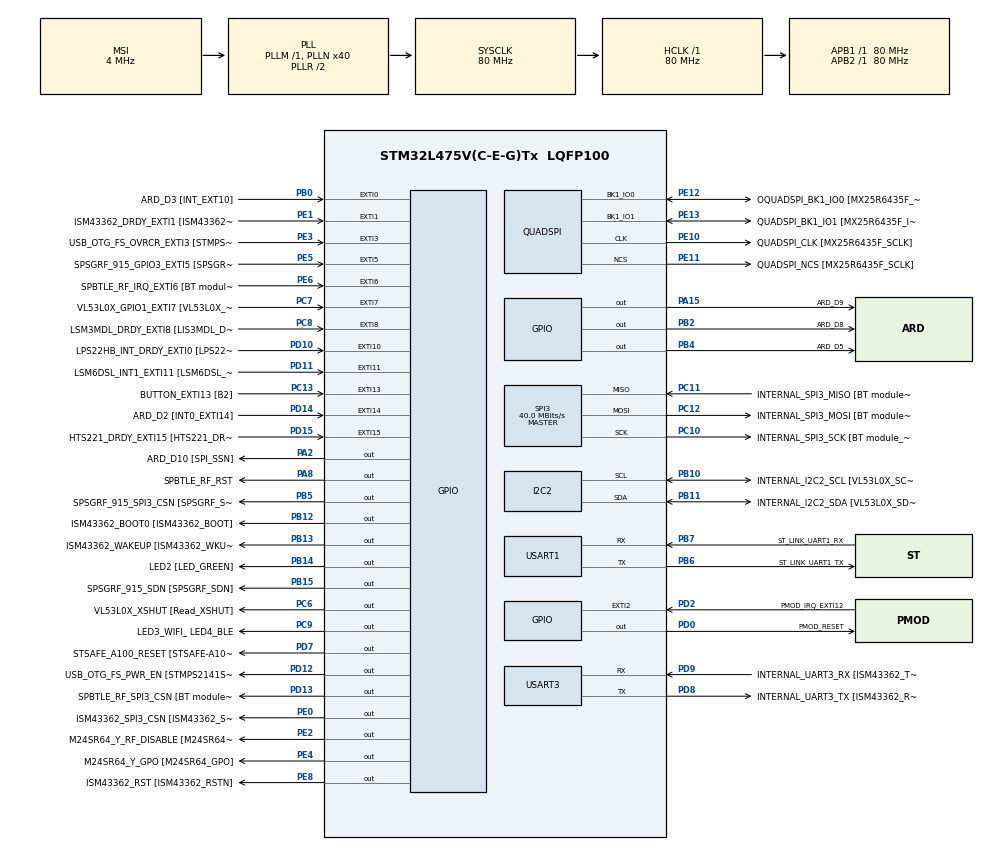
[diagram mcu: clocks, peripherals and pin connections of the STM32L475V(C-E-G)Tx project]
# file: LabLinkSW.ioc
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FREERTOS.Tasks01=defaultTask,24,128,StartDefaultTask,Default,NULL,Dynamic,NULL,NULL
FREERTOS.configTOTAL_HEAP_SIZE=9000
I2C2.Timing=0x10D19CE4
Mcu.Family=STM32L4
Mcu.Name=STM32L475V(C-E-G)Tx
Mcu.Package=LQFP100
NVIC.EXTI15_10_IRQn=true\:5\:0\:false\:false\:true\:true\:true\:true\:true
NVIC.EXTI1_IRQn=true\:5\:0\:false\:false\:true\:true\:true\:true\:true
NVIC.EXTI9_5_IRQn=true\:5\:0\:false\:false\:true\:true\:true\:true\:true
NVIC.PriorityGroup=NVIC_PRIORITYGROUP_4
NVIC.TIM6_DAC_IRQn=true\:15\:0\:false\:false\:true\:false\:false\:true\:true
NVIC.TIM7_IRQn=true\:5\:0\:false\:false\:true\:true\:true\:true\:true
NVIC.TimeBase=TIM6_DAC_IRQn
NVIC.TimeBaseIP=TIM6
PA0.GPIO_Label=ARD_D1 [UART4_TX]
PA0.Signal=UART4_TX
PA1.GPIO_Label=ARD_D0 [UART4_RX]
PA1.Signal=UART4_RX
PA10.GPIO_Label=USB_OTG_FS_ID
PA10.Signal=USB_OTG_FS_ID
PA11.GPIO_Label=USB_OTG_FS_DM
PA11.Signal=USB_OTG_FS_DM
PA12.GPIO_Label=USB_OTG_FS_DP
PA12.Signal=USB_OTG_FS_DP
PA13\ (JTMS-SWDIO).GPIO_Label=SYS_JTMS_SWDIO
PA13\ (JTMS-SWDIO).Mode=Trace_Asynchronous_SW
PA13\ (JTMS-SWDIO).Signal=SYS_JTMS-SWDIO
PA14\ (JTCK-SWCLK).GPIO_Label=SYS_JTCK_SWCLK
PA14\ (JTCK-SWCLK).Mode=Trace_Asynchronous_SW
PA14\ (JTCK-SWCLK).Signal=SYS_JTCK-SWCLK
PA15\ (JTDI).GPIO_Label=ARD_D9
PA15\ (JTDI).Signal=GPIO_Output
PA2.GPIO_Label=ARD_D10 [SPI_SSN]
PA2.Signal=GPIO_Output
PA3.GPIO_Label=ARD_D4
PA3.Signal=S_TIM2_CH4
PA4.GPIO_Label=ARD_D7
PA4.Signal=ADCx_IN9
PA5.GPIO_Label=ARD_D13 [SPI1_SCK]
PA5.Signal=SPI1_SCK
PA6.GPIO_Label=ARD_D12 [SPI1_MISO]
PA6.Signal=SPI1_MISO
PA7.GPIO_Label=ARD_D11 [SPI1_MOSI]
PA7.Signal=SPI1_MOSI
PA8.GPIO_Label=SPBTLE_RF_RST
PA8.Signal=GPIO_Output
PA9.GPIO_Label=USB_OTG_FS_VBUS [STMPS2141STR_OUT]
PA9.Signal=USB_OTG_FS_VBUS
PB0.GPIO_Label=ARD_D3 [INT_EXT10]
PB0.Signal=GPXTI0
PB1.GPIO_Label=ARD_D6 [ADC1_IN6]
PB1.Signal=ADCx_IN16
PB10.GPIO_Label=INTERNAL_I2C2_SCL [VL53L0X_SCL]
PB10.GPIO_Pu=GPIO_PULLUP
PB10.Mode=I2C
PB10.Signal=I2C2_SCL
PB11.GPIO_Label=INTERNAL_I2C2_SDA [VL53L0X_SDA]
PB11.GPIO_Pu=GPIO_PULLUP
PB11.Mode=I2C
PB11.Signal=I2C2_SDA
PB12.GPIO_Label=ISM43362_BOOT0 [ISM43362_BOOT]
PB12.Signal=GPIO_Output
PB13.GPIO_Label=ISM43362_WAKEUP [ISM43362_WKUP]
PB13.Signal=GPIO_Output
PB14.GPIO_Label=LED2 [LED_GREEN]
PB14.Signal=GPIO_Output
PB15.GPIO_Label=SPSGRF_915_SDN [SPSGRF_SDN]
PB15.Signal=GPIO_Output
PB2.GPIO_Label=ARD_D8
PB2.Signal=GPIO_Output
PB3\ (JTDO-TRACESWO).GPIO_Label=SYS_JTD0_SWO
PB3\ (JTDO-TRACESWO).Mode=Trace_Asynchronous_SW
PB3\ (JTDO-TRACESWO).Signal=SYS_JTDO-SWO
PB4\ (NJTRST).GPIO_Label=ARD_D5
PB4\ (NJTRST).Signal=GPIO_Output
PB5.GPIO_Label=SPSGRF_915_SPI3_CSN [SPSGRF_SPI_CS]
PB5.PinState=GPIO_PIN_SET
PB5.Signal=GPIO_Output
PB6.GPIO_Label=ST_LINK_UART1_TX
PB6.Mode=Asynchronous
PB6.Signal=USART1_TX
PB7.GPIO_Label=ST_LINK_UART1_RX
PB7.Mode=Asynchronous
PB7.Signal=USART1_RX
PB8.GPIO_Label=ARD_D15 [I2C1_SCL]
PB8.Signal=I2C1_SCL
PB9.GPIO_Label=ARD_D14 [I2C1_SDA]
PB9.Signal=I2C1_SDA
PC0.GPIO_Label=ARD_A5 [ADC]
PC0.Signal=ADCx_IN1
PC1.GPIO_Label=ARD_A4 [ADC]
PC1.Signal=ADCx_IN2
PC10.GPIO_Label=INTERNAL_SPI3_SCK [BT module_SPI_SCLK] [ISM43362_SCK]
PC10.Mode=Full_Duplex_Master
PC10.Signal=SPI3_SCK
PC11.GPIO_Label=INTERNAL_SPI3_MISO [BT module_SPI_MISO] [ISM43362_MISO]
PC11.Mode=Full_Duplex_Master
PC11.Signal=SPI3_MISO
PC12.GPIO_Label=INTERNAL_SPI3_MOSI [BT module_SPI_MOSI] [ISM43362_MOSI]
PC12.Mode=Full_Duplex_Master
PC12.Signal=SPI3_MOSI
PC13.GPIO_Label=BUTTON_EXTI13 [B2]
PC13.GPIO_ModeDefaultEXTI=GPIO_MODE_IT_RISING
PC13.GPIO_PuPd=GPIO_NOPULL
PC13.Signal=GPXTI13
PC14-OSC32_IN\ (PC14).Mode=LSE-External-Oscillator
PC14-OSC32_IN\ (PC14).Signal=RCC_OSC32_IN
PC15-OSC32_OUT\ (PC15).Mode=LSE-External-Oscillator
PC15-OSC32_OUT\ (PC15).Signal=RCC_OSC32_OUT
PC2.GPIO_Label=ARD_A3 [ADC]
PC2.Signal=ADCx_IN3
PC3.GPIO_Label=ARD_A2 [ADC]
PC3.Signal=ADCx_IN4
PC4.GPIO_Label=ARD_A1 [ADC]
PC4.Signal=ADCx_IN13
PC5.GPIO_Label=ARD_A0 [ADC]
PC5.Signal=ADCx_IN14
PC6.GPIO_Label=VL53L0X_XSHUT [Read_XSHUT]
PC6.Signal=GPIO_Output
PC7.GPIO_Label=VL53L0X_GPIO1_EXTI7 [VL53L0X_GPIO1]
PC7.Signal=GPXTI7
PC8.GPIO_Label=LSM3MDL_DRDY_EXTI8 [LIS3MDL_DRDY]
PC8.Signal=GPXTI8
PC9.GPIO_Label=LED3_WIFI_ LED4_BLE
PC9.Signal=GPIO_Output
PD0.GPIO_Label=PMOD_RESET
PD0.Signal=GPIO_Output
PD1.GPIO_Label=PMOD_SPI2_SCK
PD1.Signal=SPI2_SCK
PD10.GPIO_Label=LPS22HB_INT_DRDY_EXTI0 [LPS22HB_INT_DRDY] 
PD10.Signal=GPXTI10
PD11.GPIO_Label=LSM6DSL_INT1_EXTI11 [LSM6DSL_INT1]
PD11.Signal=GPXTI11
PD12.GPIO_Label=USB_OTG_FS_PWR_EN [STMPS2141STR_EN]
PD12.Signal=GPIO_Output
PD13.GPIO_Label=SPBTLE_RF_SPI3_CSN [BT module_SPI_CS]
PD13.PinState=GPIO_PIN_SET
PD13.Signal=GPIO_Output
PD14.GPIO_Label=ARD_D2 [INT0_EXTI14]
PD14.Signal=GPXTI14
PD15.GPIO_Label=HTS221_DRDY_EXTI15 [HTS221_DRDY]
PD15.Signal=GPXTI15
PD2.GPIO_Label=PMOD_IRQ_EXTI12
PD2.Signal=GPXTI2
PD3.GPIO_Label=PMOD_UART2_CTS
PD3.Signal=USART2_CTS
PD4.GPIO_Label=PMOD_UART2_RTS
PD4.Signal=USART2_RTS
PD5.GPIO_Label=PMOD_UART2_TX
PD5.Signal=USART2_TX
PD6.GPIO_Label=PMOD_UART2_RX
PD6.Signal=USART2_RX
PD7.GPIO_Label=STSAFE_A100_RESET [STSAFE-A100_RESET]
PD7.Signal=GPIO_Output
PD8.GPIO_Label=INTERNAL_UART3_TX [ISM43362_RX]
PD8.Mode=Asynchronous
PD8.Signal=USART3_TX
PD9.GPIO_Label=INTERNAL_UART3_RX [ISM43362_TX]
PD9.Mode=Asynchronous
PD9.Signal=USART3_RX
PE0.GPIO_Label=ISM43362_SPI3_CSN [ISM43362_SSN]
PE0.PinState=GPIO_PIN_SET
PE0.Signal=GPIO_Output
PE1.GPIO_Label=ISM43362_DRDY_EXTI1 [ISM43362_DATARDY]
PE1.Signal=GPXTI1
PE10.GPIO_Label=QUADSPI_CLK [MX25R6435F_SCLK]
PE10.Mode=Single Bank 2IOs
PE10.Signal=QUADSPI_CLK
PE11.GPIO_Label=QUADSPI_NCS [MX25R6435F_SCLK]
PE11.Mode=Single Bank 2IOs
PE11.Signal=QUADSPI_NCS
PE12.GPIO_Label=OQUADSPI_BK1_IO0 [MX25R6435F_IO0]
PE12.Mode=Single Bank 2IOs
PE12.Signal=QUADSPI_BK1_IO0
PE13.GPIO_Label=QUADSPI_BK1_IO1 [MX25R6435F_IO1]
PE13.Mode=Single Bank 2IOs
PE13.Signal=QUADSPI_BK1_IO1
PE14.GPIO_Label=QUAD_SPI_BK1_IO2 [MX25R6435F_IO2]
PE14.Signal=QUADSPI_BK1_IO2
PE15.GPIO_Label=QUAD_SPI_BK1_IO3 [MX25R6435F_IO3]
PE15.Signal=QUADSPI_BK1_IO3
PE2.GPIO_Label=M24SR64_Y_RF_DISABLE [M24SR64_RFDIS]
PE2.Signal=GPIO_Output
PE3.GPIO_Label=USB_OTG_FS_OVRCR_EXTI3 [STMPS2141STR_FAULT]
PE3.Signal=GPXTI3
PE4.GPIO_Label=M24SR64_Y_GPO [M24SR64_GPO]
PE4.Signal=GPIO_Output
PE5.GPIO_Label=SPSGRF_915_GPIO3_EXTI5 [SPSGRF_GPIO_3]
PE5.Signal=GPXTI5
PE6.GPIO_Label=SPBTLE_RF_IRQ_EXTI6 [BT module_SPI_IRQ]
PE6.Signal=GPXTI6
PE7.GPIO_Label=DFSDM1_DATIN2 [MP34DT01_DOUT]
PE7.Signal=S_DATAIN2DFSDM1
PE8.GPIO_Label=ISM43362_RST [ISM43362_RSTN]
PE8.Signal=GPIO_Output
PE9.GPIO_Label=DFSDM1_CKOUT [MP34DT01_CLK]
PE9.Signal=S_CKOUTDFSDM1
PH0-OSC_IN\ (PH0).Mode=HSE-External-Oscillator
PH0-OSC_IN\ (PH0).Signal=RCC_OSC_IN
PH1-OSC_OUT\ (PH1).Mode=HSE-External-Oscillator
PH1-OSC_OUT\ (PH1).Signal=RCC_OSC_OUT
ProjectManager.HeapSize=0x200
ProjectManager.StackSize=0x400
ProjectManager.TargetToolchain=STM32CubeIDE
QUADSPI.ClockPrescaler-Single\ Bank\ 2IOs=2
QUADSPI.FifoThreshold-Single\ Bank\ 2IOs=4
QUADSPI.FlashSize-Single\ Bank\ 2IOs=23
QUADSPI.SampleShifting-Single\ Bank\ 2IOs=QSPI_SAMPLE_SHIFTING_HALFCYCLE
RCC.ADCFreq_Value=48000000
RCC.AHBFreq_Value=80000000
RCC.APB1Freq_Value=80000000
RCC.APB1TimFreq_Value=80000000
RCC.APB2Freq_Value=80000000
RCC.APB2TimFreq_Value=80000000
RCC.CortexFreq_Value=80000000
RCC.HCLKFreq_Value=80000000
RCC.HSE_VALUE=8000000
RCC.HSI_VALUE=16000000
RCC.MSI_VALUE=4000000
RCC.PLLN=40
RCC.PLLSAI1N=24
RCC.SYSCLKFreq_VALUE=80000000
RCC.SYSCLKSource=RCC_SYSCLKSOURCE_PLLCLK
RCC.USBFreq_Value=48000000
RCC.VCOOutputFreq_Value=160000000
SH.ADCx_IN1.0=ADC1_IN1
SH.ADCx_IN13.0=ADC1_IN13
SH.ADCx_IN14.0=ADC1_IN14
SH.ADCx_IN16.0=ADC1_IN16
SH.ADCx_IN2.0=ADC1_IN2
SH.ADCx_IN3.0=ADC1_IN3
SH.ADCx_IN4.0=ADC1_IN4
SH.ADCx_IN9.0=ADC1_IN9
SH.S_CKOUTDFSDM1.0=DFSDM1_CKOUT
SH.S_DATAIN2DFSDM1.0=DFSDM1_DATIN2
SH.S_TIM2_CH4.0=TIM2_CH4
SPI3.CalculateBaudRate=40.0 MBits/s
SPI3.Direction=SPI_DIRECTION_2LINES
SPI3.Mode=SPI_MODE_MASTER
SPI3.VirtualType=VM_MASTER
TIM7.Period=65216
TIM7.Prescaler=3679
USART1.VirtualMode-Asynchronous=VM_ASYNC
USART3.VirtualMode-Asynchronous=VM_ASYNC
VP_FREERTOS_VS_CMSIS_V2.Mode=CMSIS_V2
VP_SYS_VS_tim6.Mode=TIM6
VP_TIM7_VS_ClockSourceINT.Mode=Enable_Timer
VP_TIM7_VS_OPM.Mode=OPM_bit
board=B-L475E-IOT01A1

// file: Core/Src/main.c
/* USER CODE BEGIN Header */
/**
  ******************************************************************************
  * @file           : main.c
  * @brief          : Main program body
  ******************************************************************************
  * @attention
  *
  * Copyright (c) 2024 STMicroelectronics.
  * All rights reserved.
  *
  * This software is licensed under terms that can be found in the LICENSE file
  * in the root directory of this software component.
  * If no LICENSE file comes with this software, it is provided AS-IS.
  *
  ******************************************************************************
  */
/* USER CODE END Header */
#include "main.h"
//#include "cmsis_os.h"

/* USER CODE BEGIN Includes */
#include "FreeRTOS.h"
#include "task.h"
#include "timers.h"
#include "queue.h"
#include "semphr.h"
#include "event_groups.h"
#include <stdio.h>
#include <string.h>
#include "LabLinkConf.h"
/* USER CODE END Includes */

I2C_HandleTypeDef hi2c2;

QSPI_HandleTypeDef hqspi;

SPI_HandleTypeDef hspi3;

TIM_HandleTypeDef htim7;

UART_HandleTypeDef huart1;
UART_HandleTypeDef huart3;

/* Definitions for defaultTask */
/* USER CODE BEGIN PV */
//WiFi
static uint8_t http[1024];
static uint8_t IP_Addr[4];
// General
volatile State_t SW_State = INIT; // State machine state
QueueHandle_t xQueue; // Queue for hands :D
// CLIENT
TaskHandle_t SM_Handle, USR_BTN_Handle, MainTask_Handle;
SemaphoreHandle_t xSemaphore_BTN; // Flag for deferred task
SemaphoreHandle_t xSemaphore_State; // Flag for deferred task
TimerHandle_t LEDTimer; // For when button is pressed

// HOST
/* @TODO */
/* USER CODE END PV */

void SystemClock_Config(void);
static void MX_GPIO_Init(void);
static void MX_I2C2_Init(void);
static void MX_SPI3_Init(void);
static void MX_USART1_UART_Init(void);
static void MX_TIM7_Init(void);
static void MX_QUADSPI_Init(void);
static void MX_USART3_UART_Init(void);
void StartDefaultTask(void *argument);

/* USER CODE BEGIN PFP */
void USR_BTN(void *argument);
void LED_BLINK(void *argument);
void PING(void *argument);
void System_SM(void *argument);
void LEDTimer_Callback(TimerHandle_t xTimer);

#if defined (TERMINAL_USE)
#ifdef __GNUC__
/* With GCC, small printf (option LD Linker->Libraries->Small printf
set to 'Yes') calls __io_putchar() */
#define PUTCHAR_PROTOTYPE int __io_putchar(int ch)
#else
#define PUTCHAR_PROTOTYPE int fputc(int ch, FILE *f)
#endif /* __GNUC__ */
#endif /* TERMINAL_USE */
static WIFI_Status_t SendWebPage(char* nextStation);
static int wifi_server(void);
static int wifi_start(void);
static int wifi_connect(void);
static bool WebServerProcess(void);
/* USER CODE END PFP */

/* USER CODE BEGIN 0 */
#define TERMINAL_USE
#define WIFI_WRITE_TIMEOUT 10000
#define WIFI_READ_TIMEOUT 10000
#define SOCKET 0
#ifdef TERMINAL_USE
#define LOG(a) printf a
#else
#define LOG(a)
#endif

int _write(int file, char *ptr, int len) {

 for (int i = 0; i < len; i++) {

 ITM_SendChar((*ptr++));

 }

 return len;

}
/* USER CODE END 0 */

int main(void)
{

  /* MCU Configuration--------------------------------------------------------*/

  /* Reset of all peripherals, Initializes the Flash interface and the Systick. */
  HAL_Init();

  /* Configure the system clock */
  SystemClock_Config();

  /* Initialize all configured peripherals */
  MX_GPIO_Init();
  MX_I2C2_Init();
  MX_SPI3_Init();
  MX_USART1_UART_Init();
  MX_TIM7_Init();
  MX_QUADSPI_Init();
  MX_USART3_UART_Init();

  /* Init scheduler */
//  osKernelInitialize();

  /* USER CODE BEGIN RTOS_SEMAPHORES */
  xSemaphore_BTN = xSemaphoreCreateBinary();
  xSemaphore_State = xSemaphoreCreateMutex();
  /* add semaphores, ... */
  /* USER CODE END RTOS_SEMAPHORES */

  /* USER CODE BEGIN RTOS_TIMERS */
  /* start timers, add new ones, ... */
  LEDTimer = xTimerCreate("LED Timer", pdMS_TO_TICKS(2000), pdFALSE, (void *)0, LEDTimer_Callback);
  /* USER CODE END RTOS_TIMERS */

  /* USER CODE BEGIN RTOS_QUEUES */
  /* add queues, ... */
  xQueue = xQueueCreate(MAX_USERS, sizeof(int)); // Number of users can be adjusted in LabLinkConf.h
//  if(xQueue == NULL)
//  {
//	  Error_Handler();
//  }
  /* USER CODE END RTOS_QUEUES */

  /* Create the thread(s) */
  /* creation of defaultTask */
//  defaultTaskHandle = osThreadNew(StartDefaultTask, NULL, &defaultTask_attributes);

  /* USER CODE BEGIN RTOS_THREADS */
  /* add threads, ... */
  BaseType_t xReturned;
  xReturned = xTaskCreate(USR_BTN, "USR_BTN", 256, NULL, PRIORITY_MED, &USR_BTN_Handle);
    if (xReturned != pdPASS)
          vTaskDelete(USR_BTN_Handle);

  xReturned = xTaskCreate(StartDefaultTask, "Main Task", 1024, NULL, PRIORITY_MED, &MainTask_Handle);
  if (xReturned != pdPASS)
          vTaskDelete(MainTask_Handle);

  xReturned = xTaskCreate(System_SM, "State Machine", 256, NULL, PRIORITY_MED, &SM_Handle);
  if (xReturned != pdPASS)
          vTaskDelete(USR_BTN_Handle);
  /* USER CODE END RTOS_THREADS */

  /* Start scheduler */
//  osKernelStart();

  /* We should never get here as control is now taken by the scheduler */

  /* Infinite loop */
  /* USER CODE BEGIN WHILE */
  vTaskStartScheduler();
  while (1)
  {
    /* USER CODE END WHILE */

  }
}

void SystemClock_Config(void)
{
  RCC_OscInitTypeDef RCC_OscInitStruct = {0};
  RCC_ClkInitTypeDef RCC_ClkInitStruct = {0};

  /** Configure the main internal regulator output voltage
  */
  if (HAL_PWREx_ControlVoltageScaling(PWR_REGULATOR_VOLTAGE_SCALE1) != HAL_OK)
  {
    Error_Handler();
  }

  /** Configure LSE Drive Capability
  */
  HAL_PWR_EnableBkUpAccess();
  __HAL_RCC_LSEDRIVE_CONFIG(RCC_LSEDRIVE_LOW);

  /** Initializes the RCC Oscillators according to the specified parameters
  * in the RCC_OscInitTypeDef structure.
  */
  RCC_OscInitStruct.OscillatorType = RCC_OSCILLATORTYPE_LSE|RCC_OSCILLATORTYPE_MSI;
  RCC_OscInitStruct.LSEState = RCC_LSE_ON;
  RCC_OscInitStruct.MSIState = RCC_MSI_ON;
  RCC_OscInitStruct.MSICalibrationValue = 0;
  RCC_OscInitStruct.MSIClockRange = RCC_MSIRANGE_6;
  RCC_OscInitStruct.PLL.PLLState = RCC_PLL_ON;
  RCC_OscInitStruct.PLL.PLLSource = RCC_PLLSOURCE_MSI;
  RCC_OscInitStruct.PLL.PLLM = 1;
  RCC_OscInitStruct.PLL.PLLN = 40;
  RCC_OscInitStruct.PLL.PLLP = RCC_PLLP_DIV7;
  RCC_OscInitStruct.PLL.PLLQ = RCC_PLLQ_DIV2;
  RCC_OscInitStruct.PLL.PLLR = RCC_PLLR_DIV2;
  if (HAL_RCC_OscConfig(&RCC_OscInitStruct) != HAL_OK)
  {
    Error_Handler();
  }

  /** Initializes the CPU, AHB and APB buses clocks
  */
  RCC_ClkInitStruct.ClockType = RCC_CLOCKTYPE_HCLK|RCC_CLOCKTYPE_SYSCLK
                              |RCC_CLOCKTYPE_PCLK1|RCC_CLOCKTYPE_PCLK2;
  RCC_ClkInitStruct.SYSCLKSource = RCC_SYSCLKSOURCE_PLLCLK;
  RCC_ClkInitStruct.AHBCLKDivider = RCC_SYSCLK_DIV1;
  RCC_ClkInitStruct.APB1CLKDivider = RCC_HCLK_DIV1;
  RCC_ClkInitStruct.APB2CLKDivider = RCC_HCLK_DIV1;

  if (HAL_RCC_ClockConfig(&RCC_ClkInitStruct, FLASH_LATENCY_4) != HAL_OK)
  {
    Error_Handler();
  }

  /** Enable MSI Auto calibration
  */
  HAL_RCCEx_EnableMSIPLLMode();
}

static void MX_I2C2_Init(void)
{

  hi2c2.Instance = I2C2;
  hi2c2.Init.Timing = 0x10D19CE4;
  hi2c2.Init.OwnAddress1 = 0;
  hi2c2.Init.AddressingMode = I2C_ADDRESSINGMODE_7BIT;
  hi2c2.Init.DualAddressMode = I2C_DUALADDRESS_DISABLE;
  hi2c2.Init.OwnAddress2 = 0;
  hi2c2.Init.OwnAddress2Masks = I2C_OA2_NOMASK;
  hi2c2.Init.GeneralCallMode = I2C_GENERALCALL_DISABLE;
  hi2c2.Init.NoStretchMode = I2C_NOSTRETCH_DISABLE;
  if (HAL_I2C_Init(&hi2c2) != HAL_OK)
  {
    Error_Handler();
  }

  /** Configure Analogue filter
  */
  if (HAL_I2CEx_ConfigAnalogFilter(&hi2c2, I2C_ANALOGFILTER_ENABLE) != HAL_OK)
  {
    Error_Handler();
  }

  /** Configure Digital filter
  */
  if (HAL_I2CEx_ConfigDigitalFilter(&hi2c2, 0) != HAL_OK)
  {
    Error_Handler();
  }

}

static void MX_QUADSPI_Init(void)
{

  /* QUADSPI parameter configuration*/
  hqspi.Instance = QUADSPI;
  hqspi.Init.ClockPrescaler = 2;
  hqspi.Init.FifoThreshold = 4;
  hqspi.Init.SampleShifting = QSPI_SAMPLE_SHIFTING_HALFCYCLE;
  hqspi.Init.FlashSize = 23;
  hqspi.Init.ChipSelectHighTime = QSPI_CS_HIGH_TIME_1_CYCLE;
  hqspi.Init.ClockMode = QSPI_CLOCK_MODE_0;
  if (HAL_QSPI_Init(&hqspi) != HAL_OK)
  {
    Error_Handler();
  }

}

static void MX_SPI3_Init(void)
{

  /* SPI3 parameter configuration*/
  hspi3.Instance = SPI3;
  hspi3.Init.Mode = SPI_MODE_MASTER;
  hspi3.Init.Direction = SPI_DIRECTION_2LINES;
  hspi3.Init.DataSize = SPI_DATASIZE_4BIT;
  hspi3.Init.CLKPolarity = SPI_POLARITY_LOW;
  hspi3.Init.CLKPhase = SPI_PHASE_1EDGE;
  hspi3.Init.NSS = SPI_NSS_SOFT;
  hspi3.Init.BaudRatePrescaler = SPI_BAUDRATEPRESCALER_2;
  hspi3.Init.FirstBit = SPI_FIRSTBIT_MSB;
  hspi3.Init.TIMode = SPI_TIMODE_DISABLE;
  hspi3.Init.CRCCalculation = SPI_CRCCALCULATION_DISABLE;
  hspi3.Init.CRCPolynomial = 7;
  hspi3.Init.CRCLength = SPI_CRC_LENGTH_DATASIZE;
  hspi3.Init.NSSPMode = SPI_NSS_PULSE_ENABLE;
  if (HAL_SPI_Init(&hspi3) != HAL_OK)
  {
    Error_Handler();
  }

}

static void MX_TIM7_Init(void)
{

  TIM_MasterConfigTypeDef sMasterConfig = {0};

  htim7.Instance = TIM7;
  htim7.Init.Prescaler = 3679;
  htim7.Init.CounterMode = TIM_COUNTERMODE_UP;
  htim7.Init.Period = 65216;
  htim7.Init.AutoReloadPreload = TIM_AUTORELOAD_PRELOAD_DISABLE;
  if (HAL_TIM_Base_Init(&htim7) != HAL_OK)
  {
    Error_Handler();
  }
  if (HAL_TIM_OnePulse_Init(&htim7, TIM_OPMODE_SINGLE) != HAL_OK)
  {
    Error_Handler();
  }
  sMasterConfig.MasterOutputTrigger = TIM_TRGO_RESET;
  sMasterConfig.MasterSlaveMode = TIM_MASTERSLAVEMODE_DISABLE;
  if (HAL_TIMEx_MasterConfigSynchronization(&htim7, &sMasterConfig) != HAL_OK)
  {
    Error_Handler();
  }

}

static void MX_USART1_UART_Init(void)
{

  huart1.Instance = USART1;
  huart1.Init.BaudRate = 115200;
  huart1.Init.WordLength = UART_WORDLENGTH_8B;
  huart1.Init.StopBits = UART_STOPBITS_1;
  huart1.Init.Parity = UART_PARITY_NONE;
  huart1.Init.Mode = UART_MODE_TX_RX;
  huart1.Init.HwFlowCtl = UART_HWCONTROL_NONE;
  huart1.Init.OverSampling = UART_OVERSAMPLING_16;
  huart1.Init.OneBitSampling = UART_ONE_BIT_SAMPLE_DISABLE;
  huart1.AdvancedInit.AdvFeatureInit = UART_ADVFEATURE_NO_INIT;
  if (HAL_UART_Init(&huart1) != HAL_OK)
  {
    Error_Handler();
  }

}

static void MX_USART3_UART_Init(void)
{

  huart3.Instance = USART3;
  huart3.Init.BaudRate = 115200;
  huart3.Init.WordLength = UART_WORDLENGTH_8B;
  huart3.Init.StopBits = UART_STOPBITS_1;
  huart3.Init.Parity = UART_PARITY_NONE;
  huart3.Init.Mode = UART_MODE_TX_RX;
  huart3.Init.HwFlowCtl = UART_HWCONTROL_NONE;
  huart3.Init.OverSampling = UART_OVERSAMPLING_16;
  huart3.Init.OneBitSampling = UART_ONE_BIT_SAMPLE_DISABLE;
  huart3.AdvancedInit.AdvFeatureInit = UART_ADVFEATURE_NO_INIT;
  if (HAL_UART_Init(&huart3) != HAL_OK)
  {
    Error_Handler();
  }

}

static void MX_GPIO_Init(void)
{
  GPIO_InitTypeDef GPIO_InitStruct = {0};

  /* GPIO Ports Clock Enable */
  __HAL_RCC_GPIOE_CLK_ENABLE();
  __HAL_RCC_GPIOC_CLK_ENABLE();
  __HAL_RCC_GPIOH_CLK_ENABLE();
  __HAL_RCC_GPIOA_CLK_ENABLE();
  __HAL_RCC_GPIOB_CLK_ENABLE();
  __HAL_RCC_GPIOD_CLK_ENABLE();

  /*Configure GPIO pin Output Level */
  HAL_GPIO_WritePin(GPIOE, M24SR64_Y_RF_DISABLE_Pin|M24SR64_Y_GPO_Pin|ISM43362_RST_Pin, GPIO_PIN_RESET);

  /*Configure GPIO pin Output Level */
  HAL_GPIO_WritePin(GPIOA, ARD_D10_Pin|SPBTLE_RF_RST_Pin|ARD_D9_Pin, GPIO_PIN_RESET);

  /*Configure GPIO pin Output Level */
  HAL_GPIO_WritePin(GPIOB, ARD_D8_Pin|ISM43362_BOOT0_Pin|ISM43362_WAKEUP_Pin|LED2_Pin
                          |SPSGRF_915_SDN_Pin|ARD_D5_Pin, GPIO_PIN_RESET);

  /*Configure GPIO pin Output Level */
  HAL_GPIO_WritePin(GPIOD, USB_OTG_FS_PWR_EN_Pin|PMOD_RESET_Pin|STSAFE_A100_RESET_Pin, GPIO_PIN_RESET);

  /*Configure GPIO pin Output Level */
  HAL_GPIO_WritePin(SPBTLE_RF_SPI3_CSN_GPIO_Port, SPBTLE_RF_SPI3_CSN_Pin, GPIO_PIN_SET);

  /*Configure GPIO pin Output Level */
  HAL_GPIO_WritePin(GPIOC, VL53L0X_XSHUT_Pin|LED3_WIFI__LED4_BLE_Pin, GPIO_PIN_RESET);

  /*Configure GPIO pin Output Level */
  HAL_GPIO_WritePin(SPSGRF_915_SPI3_CSN_GPIO_Port, SPSGRF_915_SPI3_CSN_Pin, GPIO_PIN_SET);

  /*Configure GPIO pin Output Level */
  HAL_GPIO_WritePin(ISM43362_SPI3_CSN_GPIO_Port, ISM43362_SPI3_CSN_Pin, GPIO_PIN_SET);

  /*Configure GPIO pins : M24SR64_Y_RF_DISABLE_Pin M24SR64_Y_GPO_Pin ISM43362_RST_Pin ISM43362_SPI3_CSN_Pin */
  GPIO_InitStruct.Pin = M24SR64_Y_RF_DISABLE_Pin|M24SR64_Y_GPO_Pin|ISM43362_RST_Pin|ISM43362_SPI3_CSN_Pin;
  GPIO_InitStruct.Mode = GPIO_MODE_OUTPUT_PP;
  GPIO_InitStruct.Pull = GPIO_NOPULL;
  GPIO_InitStruct.Speed = GPIO_SPEED_FREQ_LOW;
  HAL_GPIO_Init(GPIOE, &GPIO_InitStruct);

  /*Configure GPIO pins : USB_OTG_FS_OVRCR_EXTI3_Pin SPSGRF_915_GPIO3_EXTI5_Pin SPBTLE_RF_IRQ_EXTI6_Pin ISM43362_DRDY_EXTI1_Pin */
  GPIO_InitStruct.Pin = USB_OTG_FS_OVRCR_EXTI3_Pin|SPSGRF_915_GPIO3_EXTI5_Pin|SPBTLE_RF_IRQ_EXTI6_Pin|ISM43362_DRDY_EXTI1_Pin;
  GPIO_InitStruct.Mode = GPIO_MODE_IT_RISING;
  GPIO_InitStruct.Pull = GPIO_NOPULL;
  HAL_GPIO_Init(GPIOE, &GPIO_InitStruct);

  /*Configure GPIO pins : BUTTON_EXTI13_Pin VL53L0X_GPIO1_EXTI7_Pin LSM3MDL_DRDY_EXTI8_Pin */
  GPIO_InitStruct.Pin = BUTTON_EXTI13_Pin|VL53L0X_GPIO1_EXTI7_Pin|LSM3MDL_DRDY_EXTI8_Pin;
  GPIO_InitStruct.Mode = GPIO_MODE_IT_RISING;
  GPIO_InitStruct.Pull = GPIO_NOPULL;
  HAL_GPIO_Init(GPIOC, &GPIO_InitStruct);

  /*Configure GPIO pins : ARD_A5_Pin ARD_A4_Pin ARD_A3_Pin ARD_A2_Pin
                           ARD_A1_Pin ARD_A0_Pin */
  GPIO_InitStruct.Pin = ARD_A5_Pin|ARD_A4_Pin|ARD_A3_Pin|ARD_A2_Pin
                          |ARD_A1_Pin|ARD_A0_Pin;
  GPIO_InitStruct.Mode = GPIO_MODE_ANALOG_ADC_CONTROL;
  GPIO_InitStruct.Pull = GPIO_NOPULL;
  HAL_GPIO_Init(GPIOC, &GPIO_InitStruct);

  /*Configure GPIO pins : ARD_D1_Pin ARD_D0_Pin */
  GPIO_InitStruct.Pin = ARD_D1_Pin|ARD_D0_Pin;
  GPIO_InitStruct.Mode = GPIO_MODE_AF_PP;
  GPIO_InitStruct.Pull = GPIO_NOPULL;
  GPIO_InitStruct.Speed = GPIO_SPEED_FREQ_VERY_HIGH;
  GPIO_InitStruct.Alternate = GPIO_AF8_UART4;
  HAL_GPIO_Init(GPIOA, &GPIO_InitStruct);

  /*Configure GPIO pins : ARD_D10_Pin SPBTLE_RF_RST_Pin ARD_D9_Pin */
  GPIO_InitStruct.Pin = ARD_D10_Pin|SPBTLE_RF_RST_Pin|ARD_D9_Pin;
  GPIO_InitStruct.Mode = GPIO_MODE_OUTPUT_PP;
  GPIO_InitStruct.Pull = GPIO_NOPULL;
  GPIO_InitStruct.Speed = GPIO_SPEED_FREQ_LOW;
  HAL_GPIO_Init(GPIOA, &GPIO_InitStruct);

  /*Configure GPIO pin : ARD_D4_Pin */
  GPIO_InitStruct.Pin = ARD_D4_Pin;
  GPIO_InitStruct.Mode = GPIO_MODE_AF_PP;
  GPIO_InitStruct.Pull = GPIO_NOPULL;
  GPIO_InitStruct.Speed = GPIO_SPEED_FREQ_LOW;
  GPIO_InitStruct.Alternate = GPIO_AF1_TIM2;
  HAL_GPIO_Init(ARD_D4_GPIO_Port, &GPIO_InitStruct);

  /*Configure GPIO pin : ARD_D7_Pin */
  GPIO_InitStruct.Pin = ARD_D7_Pin;
  GPIO_InitStruct.Mode = GPIO_MODE_ANALOG_ADC_CONTROL;
  GPIO_InitStruct.Pull = GPIO_NOPULL;
  HAL_GPIO_Init(ARD_D7_GPIO_Port, &GPIO_InitStruct);

  /*Configure GPIO pins : ARD_D13_Pin ARD_D12_Pin ARD_D11_Pin */
  GPIO_InitStruct.Pin = ARD_D13_Pin|ARD_D12_Pin|ARD_D11_Pin;
  GPIO_InitStruct.Mode = GPIO_MODE_AF_PP;
  GPIO_InitStruct.Pull = GPIO_NOPULL;
  GPIO_InitStruct.Speed = GPIO_SPEED_FREQ_VERY_HIGH;
  GPIO_InitStruct.Alternate = GPIO_AF5_SPI1;
  HAL_GPIO_Init(GPIOA, &GPIO_InitStruct);

  /*Configure GPIO pin : ARD_D3_Pin */
  GPIO_InitStruct.Pin = ARD_D3_Pin;
  GPIO_InitStruct.Mode = GPIO_MODE_IT_RISING;
  GPIO_InitStruct.Pull = GPIO_NOPULL;
  HAL_GPIO_Init(ARD_D3_GPIO_Port, &GPIO_InitStruct);

  /*Configure GPIO pin : ARD_D6_Pin */
  GPIO_InitStruct.Pin = ARD_D6_Pin;
  GPIO_InitStruct.Mode = GPIO_MODE_ANALOG_ADC_CONTROL;
  GPIO_InitStruct.Pull = GPIO_NOPULL;
  HAL_GPIO_Init(ARD_D6_GPIO_Port, &GPIO_InitStruct);

  /*Configure GPIO pins : ARD_D8_Pin ISM43362_BOOT0_Pin ISM43362_WAKEUP_Pin LED2_Pin
                           SPSGRF_915_SDN_Pin ARD_D5_Pin SPSGRF_915_SPI3_CSN_Pin */
  GPIO_InitStruct.Pin = ARD_D8_Pin|ISM43362_BOOT0_Pin|ISM43362_WAKEUP_Pin|LED2_Pin
                          |SPSGRF_915_SDN_Pin|ARD_D5_Pin|SPSGRF_915_SPI3_CSN_Pin;
  GPIO_InitStruct.Mode = GPIO_MODE_OUTPUT_PP;
  GPIO_InitStruct.Pull = GPIO_NOPULL;
  GPIO_InitStruct.Speed = GPIO_SPEED_FREQ_LOW;
  HAL_GPIO_Init(GPIOB, &GPIO_InitStruct);

  /*Configure GPIO pins : DFSDM1_DATIN2_Pin DFSDM1_CKOUT_Pin */
  GPIO_InitStruct.Pin = DFSDM1_DATIN2_Pin|DFSDM1_CKOUT_Pin;
  GPIO_InitStruct.Mode = GPIO_MODE_AF_PP;
  GPIO_InitStruct.Pull = GPIO_NOPULL;
  GPIO_InitStruct.Speed = GPIO_SPEED_FREQ_LOW;
  GPIO_InitStruct.Alternate = GPIO_AF6_DFSDM1;
  HAL_GPIO_Init(GPIOE, &GPIO_InitStruct);

  /*Configure GPIO pins : LPS22HB_INT_DRDY_EXTI0_Pin LSM6DSL_INT1_EXTI11_Pin ARD_D2_Pin HTS221_DRDY_EXTI15_Pin
                           PMOD_IRQ_EXTI12_Pin */
  GPIO_InitStruct.Pin = LPS22HB_INT_DRDY_EXTI0_Pin|LSM6DSL_INT1_EXTI11_Pin|ARD_D2_Pin|HTS221_DRDY_EXTI15_Pin
                          |PMOD_IRQ_EXTI12_Pin;
  GPIO_InitStruct.Mode = GPIO_MODE_IT_RISING;
  GPIO_InitStruct.Pull = GPIO_NOPULL;
  HAL_GPIO_Init(GPIOD, &GPIO_InitStruct);

  /*Configure GPIO pins : USB_OTG_FS_PWR_EN_Pin SPBTLE_RF_SPI3_CSN_Pin PMOD_RESET_Pin STSAFE_A100_RESET_Pin */
  GPIO_InitStruct.Pin = USB_OTG_FS_PWR_EN_Pin|SPBTLE_RF_SPI3_CSN_Pin|PMOD_RESET_Pin|STSAFE_A100_RESET_Pin;
  GPIO_InitStruct.Mode = GPIO_MODE_OUTPUT_PP;
  GPIO_InitStruct.Pull = GPIO_NOPULL;
  GPIO_InitStruct.Speed = GPIO_SPEED_FREQ_LOW;
  HAL_GPIO_Init(GPIOD, &GPIO_InitStruct);

  /*Configure GPIO pins : VL53L0X_XSHUT_Pin LED3_WIFI__LED4_BLE_Pin */
  GPIO_InitStruct.Pin = VL53L0X_XSHUT_Pin|LED3_WIFI__LED4_BLE_Pin;
  GPIO_InitStruct.Mode = GPIO_MODE_OUTPUT_PP;
  GPIO_InitStruct.Pull = GPIO_NOPULL;
  GPIO_InitStruct.Speed = GPIO_SPEED_FREQ_LOW;
  HAL_GPIO_Init(GPIOC, &GPIO_InitStruct);

  /*Configure GPIO pin : USB_OTG_FS_VBUS_Pin */
  GPIO_InitStruct.Pin = USB_OTG_FS_VBUS_Pin;
  GPIO_InitStruct.Mode = GPIO_MODE_INPUT;
  GPIO_InitStruct.Pull = GPIO_NOPULL;
  HAL_GPIO_Init(USB_OTG_FS_VBUS_GPIO_Port, &GPIO_InitStruct);

  /*Configure GPIO pins : USB_OTG_FS_ID_Pin USB_OTG_FS_DM_Pin USB_OTG_FS_DP_Pin */
  GPIO_InitStruct.Pin = USB_OTG_FS_ID_Pin|USB_OTG_FS_DM_Pin|USB_OTG_FS_DP_Pin;
  GPIO_InitStruct.Mode = GPIO_MODE_AF_PP;
  GPIO_InitStruct.Pull = GPIO_NOPULL;
  GPIO_InitStruct.Speed = GPIO_SPEED_FREQ_VERY_HIGH;
  GPIO_InitStruct.Alternate = GPIO_AF10_OTG_FS;
  HAL_GPIO_Init(GPIOA, &GPIO_InitStruct);

  /*Configure GPIO pin : PMOD_SPI2_SCK_Pin */
  GPIO_InitStruct.Pin = PMOD_SPI2_SCK_Pin;
  GPIO_InitStruct.Mode = GPIO_MODE_AF_PP;
  GPIO_InitStruct.Pull = GPIO_NOPULL;
  GPIO_InitStruct.Speed = GPIO_SPEED_FREQ_VERY_HIGH;
  GPIO_InitStruct.Alternate = GPIO_AF5_SPI2;
  HAL_GPIO_Init(PMOD_SPI2_SCK_GPIO_Port, &GPIO_InitStruct);

  /*Configure GPIO pins : PMOD_UART2_CTS_Pin PMOD_UART2_RTS_Pin PMOD_UART2_TX_Pin PMOD_UART2_RX_Pin */
  GPIO_InitStruct.Pin = PMOD_UART2_CTS_Pin|PMOD_UART2_RTS_Pin|PMOD_UART2_TX_Pin|PMOD_UART2_RX_Pin;
  GPIO_InitStruct.Mode = GPIO_MODE_AF_PP;
  GPIO_InitStruct.Pull = GPIO_NOPULL;
  GPIO_InitStruct.Speed = GPIO_SPEED_FREQ_VERY_HIGH;
  GPIO_InitStruct.Alternate = GPIO_AF7_USART2;
  HAL_GPIO_Init(GPIOD, &GPIO_InitStruct);

  /*Configure GPIO pins : ARD_D15_Pin ARD_D14_Pin */
  GPIO_InitStruct.Pin = ARD_D15_Pin|ARD_D14_Pin;
  GPIO_InitStruct.Mode = GPIO_MODE_AF_OD;
  GPIO_InitStruct.Pull = GPIO_NOPULL;
  GPIO_InitStruct.Speed = GPIO_SPEED_FREQ_VERY_HIGH;
  GPIO_InitStruct.Alternate = GPIO_AF4_I2C1;
  HAL_GPIO_Init(GPIOB, &GPIO_InitStruct);

  /* EXTI interrupt init*/
  HAL_NVIC_SetPriority(EXTI1_IRQn, 5, 0);
  HAL_NVIC_EnableIRQ(EXTI1_IRQn);

  HAL_NVIC_SetPriority(EXTI9_5_IRQn, 5, 0);
  HAL_NVIC_EnableIRQ(EXTI9_5_IRQn);

  HAL_NVIC_SetPriority(EXTI15_10_IRQn, 5, 0);
  HAL_NVIC_EnableIRQ(EXTI15_10_IRQn);

}

/* USER CODE BEGIN 4 */

// This helper function allows us to read who is next in the Queue to SendWebPage function
void getNextStation(xQueueHandle xQueue, char *output)
{
	int item;
	char tmpStr[64];
	if(xQueuePeek(xQueue, &item, 0) == pdPASS)
	{ // Queue has an item
		snprintf(tmpStr, sizeof(tmpStr), "Station #%d", item);
		strcpy(output, tmpStr);
	} else {
      // Queue is empty
		strcpy(output, "Queue Empty");
	}
}

static int wifi_start(void)
{
	LOG(("WIFI START\n"));
  uint8_t  MAC_Addr[6];

 /*Initialize and use WIFI module */
  if(WIFI_Init() ==  WIFI_STATUS_OK)
  {
    LOG(("ES-WIFI Initialized.\n"));
    if(WIFI_GetMAC_Address(MAC_Addr, sizeof(MAC_Addr)) == WIFI_STATUS_OK)
    {
      LOG(("> eS-WiFi module MAC Address : %02X:%02X:%02X:%02X:%02X:%02X\n",
               MAC_Addr[0],
               MAC_Addr[1],
               MAC_Addr[2],
               MAC_Addr[3],
               MAC_Addr[4],
               MAC_Addr[5]));
    }
    else
    {
      LOG(("> ERROR : CANNOT get MAC address\n"));
      return -1;
    }
  }
  else
  {
    return -1;
  }
  return 0;
}

int wifi_connect(void)
{

  wifi_start();

  LOG(("\nConnecting to %s , %s\n",SSID,PASSWORD));
  if( WIFI_Connect(SSID, PASSWORD, WIFI_ECN_WPA2_PSK) == WIFI_STATUS_OK)
  {
    if(WIFI_GetIP_Address(IP_Addr, sizeof(IP_Addr)) == WIFI_STATUS_OK)
    {
      LOG(("> es-wifi module connected: got IP Address : %d.%d.%d.%d\n",
               IP_Addr[0],
               IP_Addr[1],
               IP_Addr[2],
               IP_Addr[3]));
      xTaskNotifyGive(SM_Handle);
    }
    else
    {
		  LOG((" ERROR : es-wifi module CANNOT get IP address\n"));
      return -1;
    }
  }
  else
  {
		 LOG(("ERROR : es-wifi module NOT connected\n"));
     return -1;
  }
  return 0;
}

int wifi_server(void)
{
  bool StopServer = false;

  LOG(("\nRunning HTML Server test\n"));
  if (wifi_connect()!=0) return -1;

  if (WIFI_STATUS_OK!=WIFI_StartServer(SOCKET, WIFI_TCP_PROTOCOL, 1, "", PORT))
  {
    LOG(("ERROR: Cannot start server.\n"));
  }

  LOG(("Server is running and waiting for an HTTP  Client connection to %d.%d.%d.%d\n",IP_Addr[0],IP_Addr[1],IP_Addr[2],IP_Addr[3]));

  do
  {
    uint8_t RemoteIP[4];
    uint16_t RemotePort;

    while (WIFI_STATUS_OK != WIFI_WaitServerConnection(SOCKET,1000,RemoteIP,sizeof(RemoteIP), &RemotePort))
    {
        LOG(("Waiting communication at %d.%d.%d.%d\n",IP_Addr[0],IP_Addr[1],IP_Addr[2],IP_Addr[3]));

    }

    LOG(("Client connected %d.%d.%d.%d:%d\n",RemoteIP[0],RemoteIP[1],RemoteIP[2],RemoteIP[3],RemotePort));

    StopServer=WebServerProcess();

    if(WIFI_CloseServerConnection(SOCKET) != WIFI_STATUS_OK)
    {
      LOG(("ERROR: failed to close current Server connection\n"));
      return -1;
    }
  }
  while(StopServer == false);

  if (WIFI_STATUS_OK!=WIFI_StopServer(SOCKET))
  {
    LOG(("ERROR: Cannot stop server.\n"));
  }

  LOG(("Server is stop\n"));
  return 0;
}

static bool WebServerProcess(void)
{
  uint16_t  respLen;
  char next_station[64];
  static   uint8_t resp[1024];
  bool    stopserver=false;

  if (WIFI_STATUS_OK == WIFI_ReceiveData(SOCKET, resp, 1000, &respLen, WIFI_READ_TIMEOUT))
  {
   LOG(("get %d byte from server\n",respLen));

   if( respLen > 0)
   {
      if(strstr((char *)resp, "GET")) /* GET: put web page */
      {
    	  getNextStation(xQueue, next_station);
    	  printf("%s", resp);
    	  if(strstr((char *)resp, "stationNumber"))
    	  {
    		  char ss[20];
    		  strncpy(ss, resp + 30, 1); // Extract the right station number from the web request
    		  ss[1] = '\0';
    		  printf("Station #: %s\n", ss);
    		  int stationID = atoi(ss);
    		  if(xQueueSend(xQueue, &stationID, 10) != pdPASS)
    		  {
    			  printf("Failed to add to queue. Queue full..\n");
    		  }
    	  }
        if(SendWebPage(next_station) != WIFI_STATUS_OK)
        {
          LOG(("> ERROR : Cannot send web page\n"));
        }
        else
        {
          LOG(("Send page after  GET command\n"));
        }
       }
       else if(strstr((char *)resp, "POST"))/* POST: received info */
       {
         LOG(("Post request\n"));

         if(SendWebPage(next_station) != WIFI_STATUS_OK)
         {
           LOG(("> ERROR : Cannot send web page\n"));
         }
         else
         {
           LOG(("Send Page after POST command\n"));
         }
       }
     }
  }
  else
  {
    LOG(("Client close connection\n"));
  }
  return stopserver;

 }

static WIFI_Status_t SendWebPage(char* nextStation)
{
  uint16_t SentDataLength;
  WIFI_Status_t ret;

  strcpy((char *)http, (char *)"HTTP/1.0 200 OK\r\nContent-Type: text/html\r\nPragma: no-cache\r\n\r\n");
  strcat((char *)http, (char *)"<html>\r\n<body>\r\n");
  strcat((char *)http, (char *)"<title>SCU LabLink</title>\r\n");
  strcat((char *)http, (char *)"<h2>Lab Link - Lab Assistant</h2>\r\n");
  strcat((char *)http, (char *)"<br /><hr>\r\n");

  // Shows the next group in the queue
  strcat((char *)http, (char *)"<h3>Next Group</h3>\r\n");
  strcat((char *)http, (char *)"<p>");
  strcat((char *)http, (char *)nextStation);
  strcat((char *)http, (char *)"</p>\r\n");

  strcat((char *)http, (char *)"<h3>Ask for Help</h3>\r\n");
  strcat((char *)http, (char *)"<form id=\"helpForm\">\r\n");
  strcat((char *)http, (char *)"<strong>Lab Station #: <input id=\"stationNumber\" name=\"stationNumber\" type=\"number\" value=\"\">\r\n");
  strcat((char *)http, (char *)"</strong></p>\r\n");
  strcat((char *)http, (char *)"<p><button type=\"button\" onclick=\"submitForm()\">Raise Hand</button></p>\r\n");
  strcat((char *)http, (char *)"</form>\r\n");

  // Add JS for graceful form submission. Put Station ID in URL so the server can read it
  strcat((char *)http, (char *)"<script>\r\n");
  strcat((char *)http, (char *)"function submitForm() {\r\n");
  strcat((char *)http, (char *)"  var number = document.getElementById('stationNumber').value;\r\n");
  strcat((char *)http, (char *)"  if (!number || isNaN(number)) {\r\n");
  strcat((char *)http, (char *)"    alert('Please enter a valid station number.');\r\n");
  strcat((char *)http, (char *)"    return;\r\n");
  strcat((char *)http, (char *)"  }\r\n");

  strcat((char *)http, (char *)"  var xhr = new XMLHttpRequest();\r\n");
  strcat((char *)http, (char *)"  var url = '/raise-hand?stationNumber=' + encodeURIComponent(number);\r\n");
  strcat((char *)http, (char *)"  xhr.open('GET', url, true);\r\n");
  strcat((char *)http, (char *)"  xhr.onreadystatechange = function() {\r\n");
  strcat((char *)http, (char *)"    if (xhr.readyState == 4 && xhr.status == 200) {\r\n");
  strcat((char *)http, (char *)"      alert('Hand raised successfully!');\r\n");
  strcat((char *)http, (char *)"    }\r\n");
  strcat((char *)http, (char *)"  };\r\n");

  strcat((char *)http, (char *)"  xhr.send(); // Send GET request with station number in URL\r\n"); // Send the GET request
  strcat((char *)http, (char *)"}\r\n");
  strcat((char *)http, (char *)"</script>\r\n");

  strcat((char *)http, (char *)"</body>\r\n</html>\r\n");

  LOG(("Webpage Sent!\n"));

  ret = WIFI_SendData(0, (uint8_t *)http, strlen((char *)http), &SentDataLength, WIFI_WRITE_TIMEOUT);

  if((ret == WIFI_STATUS_OK) && (SentDataLength != strlen((char *)http)))
  {
    ret = WIFI_STATUS_ERROR;
  }

  return ret;
}

void System_SM(void *argument)
{
	for(;;)
	{
		State_t Next_State;
		switch(SW_State)
		{
		case INIT:
			// Initial state waits for WiFi connection before proceeding. Determined by flag
			ulTaskNotifyTake(pdTRUE, portMAX_DELAY);
			Next_State = CONNECTED;
		case CONNECTED:
			// Turn on LED when WiFi is connected
			HAL_GPIO_WritePin(GPIOB, LED2_Pin, GPIO_PIN_SET);
			Next_State = QUEUE_EMPTY;
		break;
		case QUEUE_EMPTY:
			// Check if the queue is full to update state
			if(uxQueueMessagesWaiting(xQueue) > 0) {
				Next_State = QUEUE_VALUES;
			}
		case QUEUE_VALUES:
			// Check if the queue is empty to update state
			if(uxQueueMessagesWaiting(xQueue) == 0) {
				Next_State = QUEUE_EMPTY;
			}
		break;
		}

		if(Next_State != SW_State)
		{
			// State is a shared global so we must protect the resource
			if(xSemaphoreTake(xSemaphore_State, portMAX_DELAY) == pdTRUE)
			{
				SW_State = Next_State;
				xSemaphoreGive(xSemaphore_State);
			}
		}
	}
}

void USR_BTN(void *argument)
{
	for(;;)
	{
		if (xSemaphoreTake(xSemaphore_BTN, portMAX_DELAY) == pdTRUE) // Only fire when ISR triggers
		{
			if(xSemaphoreTake(xSemaphore_State, portMAX_DELAY) == pdTRUE) // State is a shared global so we must protect the resource
			{
				if(SW_State == QUEUE_VALUES)
				{
					int data;
					xQueueReceive(xQueue, &data, 20);
					printf("Removed Station #%d from queue.\n", data);
					HAL_GPIO_WritePin(GPIOB, LED2_Pin, GPIO_PIN_RESET);
					xTimerStart(LEDTimer, 0);
					xSemaphoreGive(xSemaphore_State); // Give back state control
				}
			}
		}
	}
}

void LEDTimer_Callback(TimerHandle_t xTimer)
{
	HAL_GPIO_WritePin(GPIOB, LED2_Pin, GPIO_PIN_SET); // After configured 2 seconds turn LED on
}
//void LED_BLINK(void *argument)
//{
//	for(;;)
//		{
//			HAL_GPIO_TogglePin(GPIOB, LED2_Pin);
//			vTaskDelay(pdMS_TO_TICKS(500));
//		}
//}

void SPI3_IRQHandler(void)
{
  HAL_SPI_IRQHandler(&hspi);
}

void HAL_GPIO_EXTI_Callback(uint16_t GPIO_Pin)
{
  switch (GPIO_Pin)
  {
    case (GPIO_PIN_1):
    {
      SPI_WIFI_ISR();
      break;
    }
    case (GPIO_PIN_13):
	{
      // Trigger Deferred process task to run
      BaseType_t xHigherPriorityTaskWoken = pdFALSE;
      xSemaphoreGiveFromISR(xSemaphore_BTN, &xHigherPriorityTaskWoken);
      portYIELD_FROM_ISR(xHigherPriorityTaskWoken);
	  break;
	}
    default:
    {
      break;
    }
  }
}
/* USER CODE END 4 */

void StartDefaultTask(void *argument)
{
  /* USER CODE BEGIN 5 */
  /* Infinite loop */
  for(;;)
  {
	  // Handle wifi server code per ECEN 501 project instructions
	  LOG(("Starting WiFi Server Task"));
	  wifi_server();
	  vTaskDelay(pdMS_TO_TICKS(1000));
  }
  /* USER CODE END 5 */
}

void HAL_TIM_PeriodElapsedCallback(TIM_HandleTypeDef *htim)
{
  if (htim->Instance == TIM6) {
    HAL_IncTick();
  }
  /* USER CODE BEGIN Callback 1 */
  if(htim->Instance == TIM7)
  {
//	  HAL_GPIO_TogglePin(GPIOB, LED2_Pin);
  }
  /* USER CODE END Callback 1 */
}

void Error_Handler(void)
{
  __disable_irq();
  while (1)
  {
  }
}
